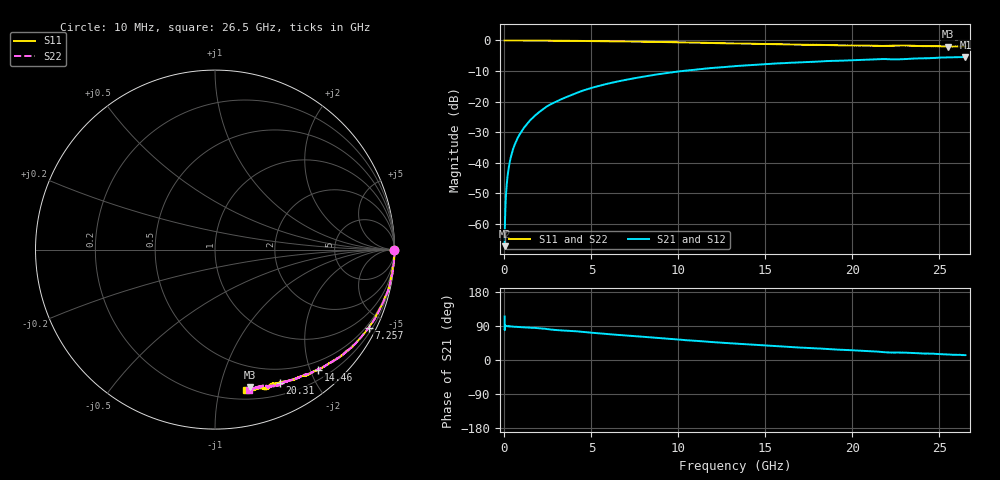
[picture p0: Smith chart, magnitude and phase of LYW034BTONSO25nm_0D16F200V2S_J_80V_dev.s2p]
!Keysight Technologies,N5222B,MY61253708,A.15.00.15
!Date: Wednesday, June 19, 2024 09:25:01
!Correction: S11(C  2-Port  )
!S21(C  2-Port  )
!S12(C  2-Port  )
!S22(C  2-Port  )
!S2P File: Measurements: S11, S21, S12, S22:
# Hz S  RI  R 50
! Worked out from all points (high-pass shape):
!   2651 points, 10 MHz to 26.5 GHz, reference 50 ohm
!   highest |S21| = -5.37 dB at 26.5 GHz (marker M1); lowest = -67.3 dB at 10 MHz (marker M2)
!   |S21| within 3 dB of the highest: 13.31786 GHz to 13.3565 GHz (38.64 MHz wide, 0.29 % of centre); 13.38 GHz to end of sweep
!   lowest |S11| = -2.0 dB at 25.5 GHz (marker M3), VSWR 8.58, Z = 15.1 - j61.9 ohm
!   |S11| at or under -10 dB: nowhere
!   |S22| runs from -2.0 to 0.0 dB; largest |S21 - S12| = 0.0069
!   S11 on the Smith chart (normalised r, x): 10 MHz: open; 7.257 GHz: 0.37, -4.14; 14.46 GHz: 0.35, -2.12; 20.31 GHz: 0.33, -1.55; 26.5 GHz: 0.28, -1.21
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1e7  0.9988 -0.00224  -0.000181 0.000393  0.00017 0.000371  0.9985 -0.000985
1.699396e8  0.9999 -0.012  6.89e-05 0.0057  6.14e-05 0.00576  0.9997 -0.0112
2.199208e8  0.9997 -0.0154  0.000106 0.00738  0.000117 0.00746  0.9993 -0.0145
2.798981e8  0.9999 -0.0195  0.000202 0.00937  0.00019 0.00951  0.9997 -0.0186
3.898566e8  0.9994 -0.0271  0.000378 0.0131  0.000352 0.0132  0.9993 -0.026
5.198075e8  0.9989 -0.0353  0.000581 0.0174  0.000586 0.0175  0.9992 -0.0346
8.696755e8  0.9979 -0.0589  0.00164 0.0289  0.00167 0.0292  0.9972 -0.058
1.479445e9  0.9901 -0.101  0.00404 0.0495  0.00407 0.0498  0.993 -0.0968
2.349117e9  0.981 -0.155  0.0105 0.0794  0.0108 0.08  0.9825 -0.1545
3.198796e9  0.9697 -0.2096  0.0216 0.105  0.0219 0.1057  0.9698 -0.2082
4.428332e9  0.9406 -0.2837  0.0396 0.1432  0.04 0.1442  0.9427 -0.28
5.75783e9  0.9042 -0.3559  0.068 0.1783  0.069 0.1795  0.907 -0.3551
7.257264e9  0.8558 -0.435  0.1043 0.2107  0.1056 0.2114  0.8586 -0.4324
8.846664e9  0.7975 -0.5058  0.148 0.238  0.1498 0.2388  0.8003 -0.5029
1.3255e10  0.6193 -0.6442  0.2763 0.2608  0.2789 0.2605  0.625 -0.6418
1.446454e10  0.5733 -0.6693  0.3073 0.257  0.3097 0.2564  0.5787 -0.6641
1.767333e10  0.4461 -0.7207  0.3821 0.2313  0.3859 0.2295  0.4591 -0.718
2.031234e10  0.3607 -0.742  0.4326 0.2036  0.436 0.1997  0.377 -0.7426
2.209166e10  0.3115 -0.7511  0.4638 0.1684  0.4659 0.1651  0.3081 -0.7579
2.308129e10  0.2826 -0.7793  0.4686 0.1641  0.4699 0.1629  0.2852 -0.7607
2.550038e10  0.1933 -0.7672  0.5121 0.1313  0.5137 0.1308  0.2159 -0.7716
2.65e10  0.1744 -0.7818  0.5255 0.1202  0.525 0.1161  0.1896 -0.7814
